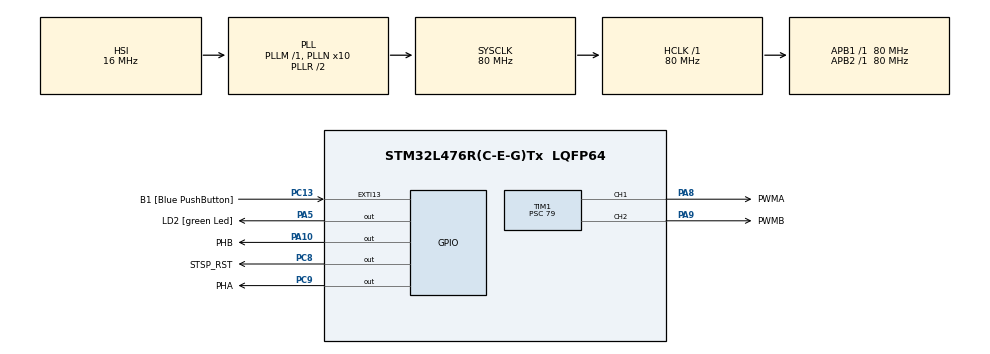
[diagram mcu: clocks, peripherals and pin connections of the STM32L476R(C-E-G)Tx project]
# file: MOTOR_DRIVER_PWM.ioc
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Mcu.Family=STM32L4
Mcu.Name=STM32L476R(C-E-G)Tx
Mcu.Package=LQFP64
NVIC.PriorityGroup=NVIC_PRIORITYGROUP_4
PA10.GPIO_Label=PHB
PA10.Signal=GPIO_Output
PA13\ (JTMS-SWDIO).GPIO_Label=TMS
PA13\ (JTMS-SWDIO).Signal=SYS_JTMS-SWDIO
PA14\ (JTCK-SWCLK).GPIO_Label=TCK
PA14\ (JTCK-SWCLK).Signal=SYS_JTCK-SWCLK
PA2.GPIO_Label=USART_TX
PA2.GPIO_Mode=GPIO_MODE_AF_PP
PA2.GPIO_PuPd=GPIO_NOPULL
PA2.GPIO_Speed=GPIO_SPEED_FREQ_VERY_HIGH
PA2.Signal=USART2_TX
PA3.GPIO_Label=USART_RX
PA3.GPIO_Mode=GPIO_MODE_AF_PP
PA3.GPIO_PuPd=GPIO_NOPULL
PA3.GPIO_Speed=GPIO_SPEED_FREQ_VERY_HIGH
PA3.Signal=USART2_RX
PA5.GPIO_Label=LD2 [green Led]
PA5.GPIO_ModeDefaultOutputPP=GPIO_MODE_OUTPUT_PP
PA5.GPIO_PuPd=GPIO_NOPULL
PA5.GPIO_Speed=GPIO_SPEED_FREQ_LOW
PA5.Signal=GPIO_Output
PA8.GPIO_Label=PWMA
PA8.Signal=S_TIM1_CH1
PA9.GPIO_Label=PWMB
PA9.Signal=S_TIM1_CH2
PB3\ (JTDO-TRACESWO).GPIO_Label=SWO
PB3\ (JTDO-TRACESWO).Signal=SYS_JTDO-SWO
PC13.GPIO_Label=B1 [Blue PushButton]
PC13.GPIO_ModeDefaultEXTI=GPIO_MODE_IT_FALLING
PC13.GPIO_PuPd=GPIO_NOPULL
PC13.Signal=GPXTI13
PC14-OSC32_IN\ (PC14).Signal=RCC_OSC32_IN
PC15-OSC32_OUT\ (PC15).Signal=RCC_OSC32_OUT
PC8.GPIO_Label=STSP_RST
PC8.Signal=GPIO_Output
PC9.GPIO_Label=PHA
PC9.Signal=GPIO_Output
PH0-OSC_IN\ (PH0).Signal=RCC_OSC_IN
PH1-OSC_OUT\ (PH1).Signal=RCC_OSC_OUT
ProjectManager.HeapSize=0x200
ProjectManager.StackSize=0x400
ProjectManager.TargetToolchain=STM32CubeIDE
RCC.ADCFreq_Value=64000000
RCC.AHBFreq_Value=80000000
RCC.APB1Freq_Value=80000000
RCC.APB1TimFreq_Value=80000000
RCC.APB2Freq_Value=80000000
RCC.APB2TimFreq_Value=80000000
RCC.CortexFreq_Value=80000000
RCC.HCLKFreq_Value=80000000
RCC.HSE_VALUE=8000000
RCC.HSI_VALUE=16000000
RCC.LSE_VALUE=32768
RCC.MSI_VALUE=4000000
RCC.PLLN=10
RCC.PLLSourceVirtual=RCC_PLLSOURCE_HSI
RCC.PREFETCH_ENABLE=1
RCC.SYSCLKFreq_VALUE=80000000
RCC.SYSCLKSource=RCC_SYSCLKSOURCE_PLLCLK
RCC.USBFreq_Value=64000000
RCC.VCOOutputFreq_Value=160000000
SH.S_TIM1_CH1.0=TIM1_CH1,PWM Generation1 CH1
SH.S_TIM1_CH2.0=TIM1_CH2,PWM Generation2 CH2
TIM1.Channel-PWM\ Generation1\ CH1=TIM_CHANNEL_1
TIM1.Channel-PWM\ Generation2\ CH2=TIM_CHANNEL_2
TIM1.Period=999
TIM1.Prescaler=79
VP_TIM1_VS_ClockSourceINT.Mode=Internal
board=NUCLEO-L476RG

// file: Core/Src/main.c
/* USER CODE BEGIN Header */
/**
  ******************************************************************************
  * @file           : main.c
  * @brief          : Main program body
  ******************************************************************************
  * @attention
  *
  * Copyright (c) 2024 STMicroelectronics.
  * All rights reserved.
  *
  * This software is licensed under terms that can be found in the LICENSE file
  * in the root directory of this software component.
  * If no LICENSE file comes with this software, it is provided AS-IS.
  *
  ******************************************************************************
  */
/* USER CODE END Header */
#include "main.h"

/* USER CODE BEGIN Includes */
#include "motor_control.h"
/* USER CODE END Includes */

TIM_HandleTypeDef htim1;

/* USER CODE BEGIN PV */
const static motor_inst motor_a = { .htim_motor = &htim1,
									.htim_motor_ch = TIM_CHANNEL_1,
									.mdir_pin_number = PHA_Pin,
									.mdir_pin_port = PHA_GPIO_Port,
									.rst_pin_number = STSP_RST_Pin,
									.rst_pin_port = STSP_RST_GPIO_Port};
const static motor_inst motor_b = { .htim_motor = &htim1,
									.htim_motor_ch = TIM_CHANNEL_2,
									.mdir_pin_number = PHB_Pin,
									.mdir_pin_port = PHB_GPIO_Port,
									.rst_pin_number = STSP_RST_Pin,
									.rst_pin_port = STSP_RST_GPIO_Port};

/* USER CODE END PV */

void SystemClock_Config(void);
static void MX_GPIO_Init(void);
static void MX_TIM1_Init(void);

int main(void)
{

  /* MCU Configuration--------------------------------------------------------*/

  /* Reset of all peripherals, Initializes the Flash interface and the Systick. */
  HAL_Init();

  /* Configure the system clock */
  SystemClock_Config();

  /* Initialize all configured peripherals */
  MX_GPIO_Init();
  MX_TIM1_Init();
  /* USER CODE BEGIN 2 */

  HAL_TIM_PWM_Start(&htim1, TIM_CHANNEL_1);
  HAL_TIM_PWM_Start(&htim1, TIM_CHANNEL_2);
  enable_motor((motor_inst*)&motor_a);
  enable_motor((motor_inst*)&motor_b);
  HAL_Delay(100);
  set_speed_open((motor_inst*)&motor_a, 10.0);
  set_speed_open((motor_inst*)&motor_b, 20.0);
  HAL_Delay(3000);
  set_speed_open((motor_inst*)&motor_a, -10.0);
   set_speed_open((motor_inst*)&motor_b, -20.0);
   HAL_Delay(3000);
   disable_motor((motor_inst*)&motor_a);
   disable_motor((motor_inst*)&motor_b);
  /* USER CODE END 2 */

  /* Infinite loop */
  while (1)
  {

  }
}

void SystemClock_Config(void)
{
  RCC_OscInitTypeDef RCC_OscInitStruct = {0};
  RCC_ClkInitTypeDef RCC_ClkInitStruct = {0};

  /** Configure the main internal regulator output voltage
  */
  if (HAL_PWREx_ControlVoltageScaling(PWR_REGULATOR_VOLTAGE_SCALE1) != HAL_OK)
  {
    Error_Handler();
  }

  /** Initializes the RCC Oscillators according to the specified parameters
  * in the RCC_OscInitTypeDef structure.
  */
  RCC_OscInitStruct.OscillatorType = RCC_OSCILLATORTYPE_HSI;
  RCC_OscInitStruct.HSIState = RCC_HSI_ON;
  RCC_OscInitStruct.HSICalibrationValue = RCC_HSICALIBRATION_DEFAULT;
  RCC_OscInitStruct.PLL.PLLState = RCC_PLL_ON;
  RCC_OscInitStruct.PLL.PLLSource = RCC_PLLSOURCE_HSI;
  RCC_OscInitStruct.PLL.PLLM = 1;
  RCC_OscInitStruct.PLL.PLLN = 10;
  RCC_OscInitStruct.PLL.PLLP = RCC_PLLP_DIV7;
  RCC_OscInitStruct.PLL.PLLQ = RCC_PLLQ_DIV2;
  RCC_OscInitStruct.PLL.PLLR = RCC_PLLR_DIV2;
  if (HAL_RCC_OscConfig(&RCC_OscInitStruct) != HAL_OK)
  {
    Error_Handler();
  }

  /** Initializes the CPU, AHB and APB buses clocks
  */
  RCC_ClkInitStruct.ClockType = RCC_CLOCKTYPE_HCLK|RCC_CLOCKTYPE_SYSCLK
                              |RCC_CLOCKTYPE_PCLK1|RCC_CLOCKTYPE_PCLK2;
  RCC_ClkInitStruct.SYSCLKSource = RCC_SYSCLKSOURCE_PLLCLK;
  RCC_ClkInitStruct.AHBCLKDivider = RCC_SYSCLK_DIV1;
  RCC_ClkInitStruct.APB1CLKDivider = RCC_HCLK_DIV1;
  RCC_ClkInitStruct.APB2CLKDivider = RCC_HCLK_DIV1;

  if (HAL_RCC_ClockConfig(&RCC_ClkInitStruct, FLASH_LATENCY_4) != HAL_OK)
  {
    Error_Handler();
  }
}

static void MX_TIM1_Init(void)
{

  TIM_ClockConfigTypeDef sClockSourceConfig = {0};
  TIM_MasterConfigTypeDef sMasterConfig = {0};
  TIM_OC_InitTypeDef sConfigOC = {0};
  TIM_BreakDeadTimeConfigTypeDef sBreakDeadTimeConfig = {0};

  /* USER CODE BEGIN TIM1_Init 1 */
  // 80 MHz/ ( 79 + 1) = 1 MHz timer
  // 1 MHZ/ (999 + 1) = 1 kHz
  // 500 / (999 + 1) = 0.5
  /* USER CODE END TIM1_Init 1 */
  htim1.Instance = TIM1;
  htim1.Init.Prescaler = 79;
  htim1.Init.CounterMode = TIM_COUNTERMODE_UP;
  htim1.Init.Period = 999;
  htim1.Init.ClockDivision = TIM_CLOCKDIVISION_DIV1;
  htim1.Init.RepetitionCounter = 0;
  htim1.Init.AutoReloadPreload = TIM_AUTORELOAD_PRELOAD_DISABLE;
  if (HAL_TIM_Base_Init(&htim1) != HAL_OK)
  {
    Error_Handler();
  }
  sClockSourceConfig.ClockSource = TIM_CLOCKSOURCE_INTERNAL;
  if (HAL_TIM_ConfigClockSource(&htim1, &sClockSourceConfig) != HAL_OK)
  {
    Error_Handler();
  }
  if (HAL_TIM_PWM_Init(&htim1) != HAL_OK)
  {
    Error_Handler();
  }
  sMasterConfig.MasterOutputTrigger = TIM_TRGO_RESET;
  sMasterConfig.MasterOutputTrigger2 = TIM_TRGO2_RESET;
  sMasterConfig.MasterSlaveMode = TIM_MASTERSLAVEMODE_DISABLE;
  if (HAL_TIMEx_MasterConfigSynchronization(&htim1, &sMasterConfig) != HAL_OK)
  {
    Error_Handler();
  }
  sConfigOC.OCMode = TIM_OCMODE_PWM1;
  sConfigOC.Pulse = 0;
  sConfigOC.OCPolarity = TIM_OCPOLARITY_HIGH;
  sConfigOC.OCNPolarity = TIM_OCNPOLARITY_HIGH;
  sConfigOC.OCFastMode = TIM_OCFAST_DISABLE;
  sConfigOC.OCIdleState = TIM_OCIDLESTATE_RESET;
  sConfigOC.OCNIdleState = TIM_OCNIDLESTATE_RESET;
  if (HAL_TIM_PWM_ConfigChannel(&htim1, &sConfigOC, TIM_CHANNEL_1) != HAL_OK)
  {
    Error_Handler();
  }
  if (HAL_TIM_PWM_ConfigChannel(&htim1, &sConfigOC, TIM_CHANNEL_2) != HAL_OK)
  {
    Error_Handler();
  }
  sBreakDeadTimeConfig.OffStateRunMode = TIM_OSSR_DISABLE;
  sBreakDeadTimeConfig.OffStateIDLEMode = TIM_OSSI_DISABLE;
  sBreakDeadTimeConfig.LockLevel = TIM_LOCKLEVEL_OFF;
  sBreakDeadTimeConfig.DeadTime = 0;
  sBreakDeadTimeConfig.BreakState = TIM_BREAK_DISABLE;
  sBreakDeadTimeConfig.BreakPolarity = TIM_BREAKPOLARITY_HIGH;
  sBreakDeadTimeConfig.BreakFilter = 0;
  sBreakDeadTimeConfig.Break2State = TIM_BREAK2_DISABLE;
  sBreakDeadTimeConfig.Break2Polarity = TIM_BREAK2POLARITY_HIGH;
  sBreakDeadTimeConfig.Break2Filter = 0;
  sBreakDeadTimeConfig.AutomaticOutput = TIM_AUTOMATICOUTPUT_DISABLE;
  if (HAL_TIMEx_ConfigBreakDeadTime(&htim1, &sBreakDeadTimeConfig) != HAL_OK)
  {
    Error_Handler();
  }
  HAL_TIM_MspPostInit(&htim1);

}

static void MX_GPIO_Init(void)
{
  GPIO_InitTypeDef GPIO_InitStruct = {0};

  /* GPIO Ports Clock Enable */
  __HAL_RCC_GPIOC_CLK_ENABLE();
  __HAL_RCC_GPIOH_CLK_ENABLE();
  __HAL_RCC_GPIOA_CLK_ENABLE();
  __HAL_RCC_GPIOB_CLK_ENABLE();

  /*Configure GPIO pin Output Level */
  HAL_GPIO_WritePin(GPIOA, LD2_Pin|PHB_Pin, GPIO_PIN_RESET);

  /*Configure GPIO pin Output Level */
  HAL_GPIO_WritePin(GPIOC, STSP_RST_Pin|PHA_Pin, GPIO_PIN_RESET);

  /*Configure GPIO pin : B1_Pin */
  GPIO_InitStruct.Pin = B1_Pin;
  GPIO_InitStruct.Mode = GPIO_MODE_IT_FALLING;
  GPIO_InitStruct.Pull = GPIO_NOPULL;
  HAL_GPIO_Init(B1_GPIO_Port, &GPIO_InitStruct);

  /*Configure GPIO pins : USART_TX_Pin USART_RX_Pin */
  GPIO_InitStruct.Pin = USART_TX_Pin|USART_RX_Pin;
  GPIO_InitStruct.Mode = GPIO_MODE_AF_PP;
  GPIO_InitStruct.Pull = GPIO_NOPULL;
  GPIO_InitStruct.Speed = GPIO_SPEED_FREQ_VERY_HIGH;
  GPIO_InitStruct.Alternate = GPIO_AF7_USART2;
  HAL_GPIO_Init(GPIOA, &GPIO_InitStruct);

  /*Configure GPIO pins : LD2_Pin PHB_Pin */
  GPIO_InitStruct.Pin = LD2_Pin|PHB_Pin;
  GPIO_InitStruct.Mode = GPIO_MODE_OUTPUT_PP;
  GPIO_InitStruct.Pull = GPIO_NOPULL;
  GPIO_InitStruct.Speed = GPIO_SPEED_FREQ_LOW;
  HAL_GPIO_Init(GPIOA, &GPIO_InitStruct);

  /*Configure GPIO pins : STSP_RST_Pin PHA_Pin */
  GPIO_InitStruct.Pin = STSP_RST_Pin|PHA_Pin;
  GPIO_InitStruct.Mode = GPIO_MODE_OUTPUT_PP;
  GPIO_InitStruct.Pull = GPIO_NOPULL;
  GPIO_InitStruct.Speed = GPIO_SPEED_FREQ_LOW;
  HAL_GPIO_Init(GPIOC, &GPIO_InitStruct);

}

void Error_Handler(void)
{
  __disable_irq();
  while (1)
  {
  }
}
